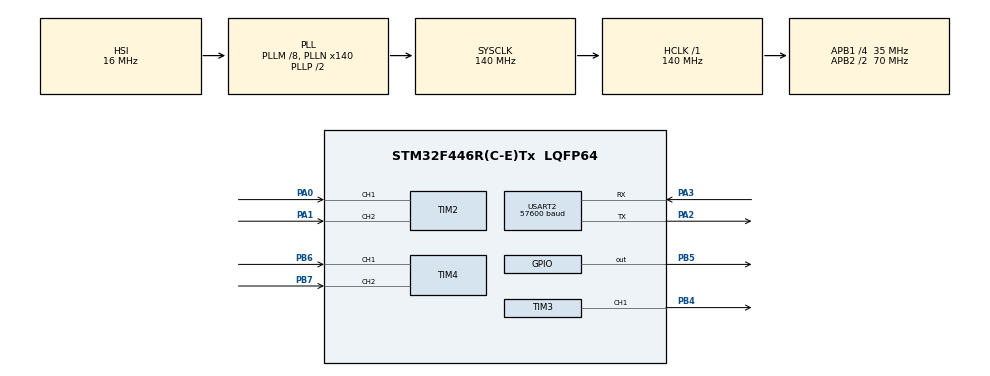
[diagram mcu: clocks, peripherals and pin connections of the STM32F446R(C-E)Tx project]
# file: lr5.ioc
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Mcu.Family=STM32F4
PH0-OSC_IN.Signal=RCC_OSC_IN
RCC.CortexFreq_Value=140000000
Dma.USART2_TX.0.MemInc=DMA_MINC_ENABLE
Dma.USART2_TX.0.PeriphDataAlignment=DMA_PDATAALIGN_BYTE
RCC.APB1CLKDivider=RCC_HCLK_DIV4
NVIC.USART2_IRQn=true\:0\:0\:false\:false\:true\:true\:true
USART2.BaudRate=57600
Dma.USART2_TX.0.FIFOMode=DMA_FIFOMODE_DISABLE
RCC.SYSCLKSource=RCC_SYSCLKSOURCE_PLLCLK
ProjectManager.StackSize=0x400
PA0-WKUP.Signal=S_TIM2_CH1_ETR
VP_TIM7_VS_ClockSourceINT.Mode=Enable_Timer
PA3.Mode=Asynchronous
SH.S_TIM2_CH2.0=TIM2_CH2,Encoder_Interface
Dma.USART2_TX.0.Priority=DMA_PRIORITY_LOW
ProjectManager.TargetToolchain=STM32CubeIDE
RCC.HCLKFreq_Value=140000000
RCC.APB2TimFreq_Value=140000000
TIM3.Period=100
PB6.Signal=S_TIM4_CH1
TIM7.Period=1000
RCC.USBFreq_Value=140000000
PA1.Signal=S_TIM2_CH2
RCC.AHBFreq_Value=140000000
PH0-OSC_IN.Mode=HSE-External-Oscillator
TIM3.Channel-PWM\ Generation1\ CH1=TIM_CHANNEL_1
RCC.HSE_VALUE=7200000
TIM7.Prescaler=1599
board=custom
RCC.VCOOutputFreq_Value=280000000
RCC.APB2Freq_Value=70000000
TIM3.Prescaler=700
PH1-OSC_OUT.Signal=RCC_OSC_OUT
SH.S_TIM4_CH2.0=TIM4_CH2,Encoder_Interface
PB7.Signal=S_TIM4_CH2
Dma.USART2_TX.0.MemDataAlignment=DMA_MDATAALIGN_BYTE
SH.S_TIM3_CH1.0=TIM3_CH1,PWM Generation1 CH1
Dma.USART2_TX.0.Direction=DMA_MEMORY_TO_PERIPH
Mcu.Name=STM32F446R(C-E)Tx
Dma.USART2_TX.0.Instance=DMA1_Stream6
PA2.Signal=USART2_TX
PH1-OSC_OUT.Mode=HSE-External-Oscillator
RCC.SYSCLKFreq_VALUE=140000000
Mcu.Package=LQFP64
PB5.Signal=GPIO_Output
Dma.USART2_TX.0.PeriphInc=DMA_PINC_DISABLE
USART2.VirtualMode=VM_ASYNC
SH.S_TIM2_CH1_ETR.0=TIM2_CH1,Encoder_Interface
ProjectManager.HeapSize=0x200
Dma.USART2_TX.0.Mode=DMA_NORMAL
NVIC.PriorityGroup=NVIC_PRIORITYGROUP_4
RCC.APB2CLKDivider=RCC_HCLK_DIV2
RCC.PLLM=8
RCC.PLLN=140
SH.S_TIM4_CH1.0=TIM4_CH1,Encoder_Interface
RCC.APB1TimFreq_Value=70000000
PA2.Mode=Asynchronous
Dma.Request0=USART2_TX
NVIC.DMA1_Stream6_IRQn=true\:0\:0\:false\:false\:true\:false\:true
RCC.APB1Freq_Value=35000000
NVIC.TIM7_IRQn=true\:0\:0\:false\:false\:true\:true\:true
VP_TIM3_VS_ClockSourceINT.Mode=Internal
PB4.Signal=S_TIM3_CH1
PA3.Signal=USART2_RX

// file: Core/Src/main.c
/* USER CODE BEGIN Header */
/**
  ******************************************************************************
  * @file           : main.c
  * @brief          : Main program body
  ******************************************************************************
  * @attention
  *
  * <h2><center>&copy; Copyright (c) 2023 STMicroelectronics.
  * All rights reserved.</center></h2>
  *
  * This software component is licensed by ST under BSD 3-Clause license,
  * the "License"; You may not use this file except in compliance with the
  * License. You may obtain a copy of the License at:
  *                        opensource.org/licenses/BSD-3-Clause
  *
  ******************************************************************************
  */
/* USER CODE END Header */
#include "main.h"

TIM_HandleTypeDef htim2;
TIM_HandleTypeDef htim3;
TIM_HandleTypeDef htim4;
TIM_HandleTypeDef htim7;

UART_HandleTypeDef huart2;
DMA_HandleTypeDef hdma_usart2_tx;

void SystemClock_Config(void);
static void MX_GPIO_Init(void);
static void MX_DMA_Init(void);
static void MX_TIM2_Init(void);
static void MX_TIM3_Init(void);
static void MX_TIM4_Init(void);
static void MX_TIM7_Init(void);
static void MX_USART2_UART_Init(void);

/* USER CODE BEGIN 0 */

typedef struct {
  uint32_t startByte;
  float control;
  float motor_speed;
  float current_pos;
  uint32_t endByte;
}outputData;

outputData txData;
/* USER CODE END 0 */

int main(void)
{

  /* MCU Configuration--------------------------------------------------------*/

  /* Reset of all peripherals, Initializes the Flash interface and the Systick. */
  HAL_Init();

  /* Configure the system clock */
  SystemClock_Config();

  /* Initialize all configured peripherals */
  MX_GPIO_Init();
  MX_DMA_Init();
  MX_TIM2_Init();
  MX_TIM3_Init();
  MX_TIM4_Init();
  MX_TIM7_Init();
  MX_USART2_UART_Init();
  /* USER CODE BEGIN 2 */

  HAL_TIM_PWM_Start(&htim3, TIM_CHANNEL_1);
  HAL_TIM_Base_Start_IT(&htim7);
  HAL_TIM_Encoder_Start(&htim2, TIM_CHANNEL_ALL);
  HAL_TIM_Encoder_Start(&htim4, TIM_CHANNEL_ALL);

  /* USER CODE END 2 */

  /* Infinite loop */
  while (1)
  {

  }
}

void SystemClock_Config(void)
{
  RCC_OscInitTypeDef RCC_OscInitStruct = {0};
  RCC_ClkInitTypeDef RCC_ClkInitStruct = {0};

  /** Configure the main internal regulator output voltage
  */
  __HAL_RCC_PWR_CLK_ENABLE();
  __HAL_PWR_VOLTAGESCALING_CONFIG(PWR_REGULATOR_VOLTAGE_SCALE2);
  /** Initializes the RCC Oscillators according to the specified parameters
  * in the RCC_OscInitTypeDef structure.
  */
  RCC_OscInitStruct.OscillatorType = RCC_OSCILLATORTYPE_HSI;
  RCC_OscInitStruct.HSIState = RCC_HSI_ON;
  RCC_OscInitStruct.HSICalibrationValue = RCC_HSICALIBRATION_DEFAULT;
  RCC_OscInitStruct.PLL.PLLState = RCC_PLL_ON;
  RCC_OscInitStruct.PLL.PLLSource = RCC_PLLSOURCE_HSI;
  RCC_OscInitStruct.PLL.PLLM = 8;
  RCC_OscInitStruct.PLL.PLLN = 140;
  RCC_OscInitStruct.PLL.PLLP = RCC_PLLP_DIV2;
  RCC_OscInitStruct.PLL.PLLQ = 2;
  RCC_OscInitStruct.PLL.PLLR = 2;
  if (HAL_RCC_OscConfig(&RCC_OscInitStruct) != HAL_OK)
  {
    Error_Handler();
  }
  /** Initializes the CPU, AHB and APB buses clocks
  */
  RCC_ClkInitStruct.ClockType = RCC_CLOCKTYPE_HCLK|RCC_CLOCKTYPE_SYSCLK
                              |RCC_CLOCKTYPE_PCLK1|RCC_CLOCKTYPE_PCLK2;
  RCC_ClkInitStruct.SYSCLKSource = RCC_SYSCLKSOURCE_PLLCLK;
  RCC_ClkInitStruct.AHBCLKDivider = RCC_SYSCLK_DIV1;
  RCC_ClkInitStruct.APB1CLKDivider = RCC_HCLK_DIV4;
  RCC_ClkInitStruct.APB2CLKDivider = RCC_HCLK_DIV2;

  if (HAL_RCC_ClockConfig(&RCC_ClkInitStruct, FLASH_LATENCY_4) != HAL_OK)
  {
    Error_Handler();
  }
}

static void MX_TIM2_Init(void)
{

  TIM_Encoder_InitTypeDef sConfig = {0};
  TIM_MasterConfigTypeDef sMasterConfig = {0};

  htim2.Instance = TIM2;
  htim2.Init.Prescaler = 0;
  htim2.Init.CounterMode = TIM_COUNTERMODE_UP;
  htim2.Init.Period = 4294967295;
  htim2.Init.ClockDivision = TIM_CLOCKDIVISION_DIV1;
  htim2.Init.AutoReloadPreload = TIM_AUTORELOAD_PRELOAD_DISABLE;
  sConfig.EncoderMode = TIM_ENCODERMODE_TI1;
  sConfig.IC1Polarity = TIM_ICPOLARITY_RISING;
  sConfig.IC1Selection = TIM_ICSELECTION_DIRECTTI;
  sConfig.IC1Prescaler = TIM_ICPSC_DIV1;
  sConfig.IC1Filter = 0;
  sConfig.IC2Polarity = TIM_ICPOLARITY_RISING;
  sConfig.IC2Selection = TIM_ICSELECTION_DIRECTTI;
  sConfig.IC2Prescaler = TIM_ICPSC_DIV1;
  sConfig.IC2Filter = 0;
  if (HAL_TIM_Encoder_Init(&htim2, &sConfig) != HAL_OK)
  {
    Error_Handler();
  }
  sMasterConfig.MasterOutputTrigger = TIM_TRGO_RESET;
  sMasterConfig.MasterSlaveMode = TIM_MASTERSLAVEMODE_DISABLE;
  if (HAL_TIMEx_MasterConfigSynchronization(&htim2, &sMasterConfig) != HAL_OK)
  {
    Error_Handler();
  }

}

static void MX_TIM3_Init(void)
{

  TIM_ClockConfigTypeDef sClockSourceConfig = {0};
  TIM_MasterConfigTypeDef sMasterConfig = {0};
  TIM_OC_InitTypeDef sConfigOC = {0};

  htim3.Instance = TIM3;
  htim3.Init.Prescaler = 700;
  htim3.Init.CounterMode = TIM_COUNTERMODE_UP;
  htim3.Init.Period = 100;
  htim3.Init.ClockDivision = TIM_CLOCKDIVISION_DIV1;
  htim3.Init.AutoReloadPreload = TIM_AUTORELOAD_PRELOAD_DISABLE;
  if (HAL_TIM_Base_Init(&htim3) != HAL_OK)
  {
    Error_Handler();
  }
  sClockSourceConfig.ClockSource = TIM_CLOCKSOURCE_INTERNAL;
  if (HAL_TIM_ConfigClockSource(&htim3, &sClockSourceConfig) != HAL_OK)
  {
    Error_Handler();
  }
  if (HAL_TIM_PWM_Init(&htim3) != HAL_OK)
  {
    Error_Handler();
  }
  sMasterConfig.MasterOutputTrigger = TIM_TRGO_RESET;
  sMasterConfig.MasterSlaveMode = TIM_MASTERSLAVEMODE_DISABLE;
  if (HAL_TIMEx_MasterConfigSynchronization(&htim3, &sMasterConfig) != HAL_OK)
  {
    Error_Handler();
  }
  sConfigOC.OCMode = TIM_OCMODE_PWM1;
  sConfigOC.Pulse = 0;
  sConfigOC.OCPolarity = TIM_OCPOLARITY_HIGH;
  sConfigOC.OCFastMode = TIM_OCFAST_DISABLE;
  if (HAL_TIM_PWM_ConfigChannel(&htim3, &sConfigOC, TIM_CHANNEL_1) != HAL_OK)
  {
    Error_Handler();
  }
  HAL_TIM_MspPostInit(&htim3);

}

static void MX_TIM4_Init(void)
{

  TIM_Encoder_InitTypeDef sConfig = {0};
  TIM_MasterConfigTypeDef sMasterConfig = {0};

  htim4.Instance = TIM4;
  htim4.Init.Prescaler = 0;
  htim4.Init.CounterMode = TIM_COUNTERMODE_UP;
  htim4.Init.Period = 65535;
  htim4.Init.ClockDivision = TIM_CLOCKDIVISION_DIV1;
  htim4.Init.AutoReloadPreload = TIM_AUTORELOAD_PRELOAD_DISABLE;
  sConfig.EncoderMode = TIM_ENCODERMODE_TI1;
  sConfig.IC1Polarity = TIM_ICPOLARITY_RISING;
  sConfig.IC1Selection = TIM_ICSELECTION_DIRECTTI;
  sConfig.IC1Prescaler = TIM_ICPSC_DIV1;
  sConfig.IC1Filter = 0;
  sConfig.IC2Polarity = TIM_ICPOLARITY_RISING;
  sConfig.IC2Selection = TIM_ICSELECTION_DIRECTTI;
  sConfig.IC2Prescaler = TIM_ICPSC_DIV1;
  sConfig.IC2Filter = 0;
  if (HAL_TIM_Encoder_Init(&htim4, &sConfig) != HAL_OK)
  {
    Error_Handler();
  }
  sMasterConfig.MasterOutputTrigger = TIM_TRGO_RESET;
  sMasterConfig.MasterSlaveMode = TIM_MASTERSLAVEMODE_DISABLE;
  if (HAL_TIMEx_MasterConfigSynchronization(&htim4, &sMasterConfig) != HAL_OK)
  {
    Error_Handler();
  }

}

static void MX_TIM7_Init(void)
{

  TIM_MasterConfigTypeDef sMasterConfig = {0};

  htim7.Instance = TIM7;
  htim7.Init.Prescaler = 1599;
  htim7.Init.CounterMode = TIM_COUNTERMODE_UP;
  htim7.Init.Period = 1000;
  htim7.Init.AutoReloadPreload = TIM_AUTORELOAD_PRELOAD_DISABLE;
  if (HAL_TIM_Base_Init(&htim7) != HAL_OK)
  {
    Error_Handler();
  }
  sMasterConfig.MasterOutputTrigger = TIM_TRGO_RESET;
  sMasterConfig.MasterSlaveMode = TIM_MASTERSLAVEMODE_DISABLE;
  if (HAL_TIMEx_MasterConfigSynchronization(&htim7, &sMasterConfig) != HAL_OK)
  {
    Error_Handler();
  }

}

static void MX_USART2_UART_Init(void)
{

  huart2.Instance = USART2;
  huart2.Init.BaudRate = 57600;
  huart2.Init.WordLength = UART_WORDLENGTH_8B;
  huart2.Init.StopBits = UART_STOPBITS_1;
  huart2.Init.Parity = UART_PARITY_NONE;
  huart2.Init.Mode = UART_MODE_TX_RX;
  huart2.Init.HwFlowCtl = UART_HWCONTROL_NONE;
  huart2.Init.OverSampling = UART_OVERSAMPLING_16;
  if (HAL_UART_Init(&huart2) != HAL_OK)
  {
    Error_Handler();
  }

}

static void MX_DMA_Init(void)
{

  /* DMA controller clock enable */
  __HAL_RCC_DMA1_CLK_ENABLE();

  /* DMA interrupt init */
  /* DMA1_Stream6_IRQn interrupt configuration */
  HAL_NVIC_SetPriority(DMA1_Stream6_IRQn, 0, 0);
  HAL_NVIC_EnableIRQ(DMA1_Stream6_IRQn);

}

static void MX_GPIO_Init(void)
{
  GPIO_InitTypeDef GPIO_InitStruct = {0};

  /* GPIO Ports Clock Enable */
  __HAL_RCC_GPIOH_CLK_ENABLE();
  __HAL_RCC_GPIOA_CLK_ENABLE();
  __HAL_RCC_GPIOB_CLK_ENABLE();

  /*Configure GPIO pin Output Level */
  HAL_GPIO_WritePin(GPIOB, GPIO_PIN_5, GPIO_PIN_RESET);

  /*Configure GPIO pin : PB5 */
  GPIO_InitStruct.Pin = GPIO_PIN_5;
  GPIO_InitStruct.Mode = GPIO_MODE_OUTPUT_PP;
  GPIO_InitStruct.Pull = GPIO_NOPULL;
  GPIO_InitStruct.Speed = GPIO_SPEED_FREQ_LOW;
  HAL_GPIO_Init(GPIOB, &GPIO_InitStruct);

}

/* USER CODE BEGIN 4 */

int max_pwn = 100;
int last_pos = 0;

int max_PI = 100;
int PI = 0;
int P = 0;
int I = 0;

void HAL_TIM_PeriodElapsedCallback(TIM_HandleTypeDef* htim)
{

	int enc = __HAL_TIM_GET_COUNTER(&htim4);
	int pos = __HAL_TIM_GET_COUNTER(&htim2);

	int speed = pos - last_pos;
	if (enc > 32767) enc -= 65534;
	if (abs(enc) > 44) {
		enc = enc/abs(enc) * 44;
		__HAL_TIM_SET_COUNTER(&htim4, enc);
	}

	int e = enc-speed;

	txData.startByte = 'rrrr';
	txData.control = enc;
	txData.motor_speed = speed;
	txData.current_pos = pos;
	txData.endByte = 'nnnn';
	HAL_UART_Transmit_DMA (&huart2, &txData, sizeof(txData));

	P = e*5;
	I += e/10; //10 - коэ�??��? ?��?егули?��?овани?��?

	PI = P + I;
	if (PI > max_PI) PI=max_PI;
	if (PI < -max_PI) PI=-max_PI;

	rotate(PI);
	last_pos = pos;
}

void rotate (int pwm){
	if ( pwm > 0) {
		HAL_GPIO_WritePin(GPIOB, GPIO_PIN_5, 0);
		__HAL_TIM_SET_COMPARE(&htim3, TIM_CHANNEL_1, pwm);
	} else if (pwm < 0) {
		HAL_GPIO_WritePin(GPIOB, GPIO_PIN_5, 1);
		__HAL_TIM_SET_COMPARE(&htim3, TIM_CHANNEL_1, -pwm);
	} else {
		__HAL_TIM_SET_COMPARE(&htim3, TIM_CHANNEL_1, 0);
	}
}

/* USER CODE END 4 */

void Error_Handler(void)
{
  __disable_irq();
  while (1)
  {
  }
}

/************************ (C) COPYRIGHT STMicroelectronics *****END OF FILE****/
